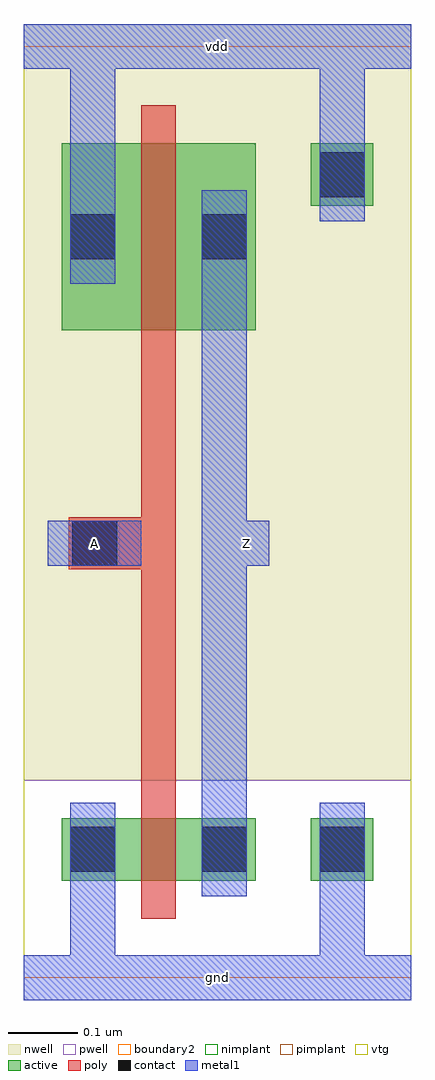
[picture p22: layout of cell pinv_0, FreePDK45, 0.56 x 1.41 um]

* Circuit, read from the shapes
.subckt pinv_0 A Z gnd vdd
M1 Z A gnd gnd nfet w=0.09u l=0.05u
M2 Z A vdd vdd pfet w=0.27u l=0.05u
.ends

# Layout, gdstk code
import gdstk
lib = gdstk.Library(unit=1e-6, precision=5e-10)
def R(c, l, rs):  # rectangles x0, y0, x1, y1
    for r in rs: c.add(gdstk.rectangle(r[:2], r[2:], *l))
active = (1, 0)
pwell = (2, 0)
nwell = (3, 0)
nimplant = (4, 0)
pimplant = (5, 0)
vtg = (6, 0)
poly = (9, 0)
contact = (10, 0)
metal1 = (11, 0)
boundary2 = (239, 0)

contact_9 = lib.new_cell('contact_9')
R(contact_9, active, [(0,0.0225,0.09,0.1125)])
R(contact_9, nwell, [(-0.055,-0.0325,0.145,0.1675)])
R(contact_9, pimplant, [(0,0.0225,0.09,0.1125)])
R(contact_9, contact, [(0.0125,0.035,0.0775,0.1)])
R(contact_9, metal1, [(0.0125,0,0.0775,0.135)])

pmos_m1_w0_270_a_p = lib.new_cell('pmos_m1_w0_270_a_p')
R(pmos_m1_w0_270_a_p, active, [(0,0,0.28,0.27)])
R(pmos_m1_w0_270_a_p, nwell, [(-0.055,-0.055,0.335,0.325)])
R(pmos_m1_w0_270_a_p, pimplant, [(0,0,0.28,0.27)])
R(pmos_m1_w0_270_a_p, vtg, [(-0.055,-0.055,0.335,0.325)])
R(pmos_m1_w0_270_a_p, poly, [(0.115,-0.055,0.165,0.325), (0.115,-0.055,0.165,0.325)])
R(pmos_m1_w0_270_a_p, metal1, [(0.0125,0.0675,0.0775,0.2025), (0.2025,0.0675,0.2675,0.2025)])
pmos_m1_w0_270_a_p.add(gdstk.Reference(contact_9, (0,0.0675)))
pmos_m1_w0_270_a_p.add(gdstk.Reference(contact_9, (0.19,0.0675)))
pmos_m1_w0_270_a_p.add(gdstk.Label('G', (0.14,0.135), layer=9, texttype=0))
pmos_m1_w0_270_a_p.add(gdstk.Label('S', (0.045,0.135), layer=11, texttype=0))
pmos_m1_w0_270_a_p.add(gdstk.Label('D', (0.235,0.135), layer=11, texttype=0))

contact_14 = lib.new_cell('contact_14')
R(contact_14, active, [(0,0.0225,0.09,0.1125)])
R(contact_14, pwell, [(-0.055,-0.0325,0.145,0.1675)])
R(contact_14, nimplant, [(0,0.0225,0.09,0.1125)])
R(contact_14, contact, [(0.0125,0.035,0.0775,0.1)])
R(contact_14, metal1, [(0.0125,0,0.0775,0.135)])

nmos_m1_w0_090_a_p = lib.new_cell('nmos_m1_w0_090_a_p')
R(nmos_m1_w0_090_a_p, active, [(0,0,0.28,0.09)])
R(nmos_m1_w0_090_a_p, pwell, [(-0.055,-0.055,0.335,0.145)])
R(nmos_m1_w0_090_a_p, nimplant, [(0,0,0.28,0.09)])
R(nmos_m1_w0_090_a_p, vtg, [(-0.055,-0.055,0.335,0.145)])
R(nmos_m1_w0_090_a_p, poly, [(0.115,-0.055,0.165,0.145), (0.115,-0.055,0.165,0.145)])
R(nmos_m1_w0_090_a_p, metal1, [(0.0125,-0.0225,0.0775,0.1125), (0.2025,-0.0225,0.2675,0.1125)])
nmos_m1_w0_090_a_p.add(gdstk.Reference(contact_14, (0,-0.0225)))
nmos_m1_w0_090_a_p.add(gdstk.Reference(contact_14, (0.19,-0.0225)))
nmos_m1_w0_090_a_p.add(gdstk.Label('G', (0.14,0.045), layer=9, texttype=0))
nmos_m1_w0_090_a_p.add(gdstk.Label('S', (0.045,0.045), layer=11, texttype=0))
nmos_m1_w0_090_a_p.add(gdstk.Label('D', (0.235,0.045), layer=11, texttype=0))

contact_18 = lib.new_cell('contact_18')
R(contact_18, active, [(0,0.0225,0.09,0.1125)])
R(contact_18, nwell, [(-0.055,-0.0325,0.145,0.1675)])
R(contact_18, nimplant, [(0,0.0225,0.09,0.1125)])
R(contact_18, contact, [(0.0125,0.035,0.0775,0.1)])
R(contact_18, metal1, [(0.0125,0,0.0775,0.135)])

contact_19 = lib.new_cell('contact_19')
R(contact_19, active, [(0,0.0225,0.09,0.1125)])
R(contact_19, pwell, [(-0.055,-0.0325,0.145,0.1675)])
R(contact_19, pimplant, [(0,0.0225,0.09,0.1125)])
R(contact_19, contact, [(0.0125,0.035,0.0775,0.1)])
R(contact_19, metal1, [(0.0125,0,0.0775,0.135)])

contact_10 = lib.new_cell('contact_10')
R(contact_10, poly, [(0.03,0,0.105,0.075)])
R(contact_10, contact, [(0.035,0.005,0.1,0.07)])
R(contact_10, metal1, [(0,0.005,0.135,0.07)])

pinv_0 = lib.new_cell('pinv_0')
R(pinv_0, pwell, [(0,-0.0325,0.56,0.285)])
R(pinv_0, nwell, [(0,0.285,0.56,1.3775)])
R(pinv_0, vtg, [(0,-0.0325,0.56,0.285), (0,0.285,0.56,1.3775)])
R(pinv_0, poly, [(0.17,0.085,0.22,0.88), (0.1025,0.59,0.17,0.665)])
R(pinv_0, metal1, [(0,-0.0325,0.56,0.0325), (0.0675,-0.0325,0.1325,0.1175), (0.4275,0,0.4925,0.185), (0.2575,0.1175,0.3225,1.1375), (0.035,0.595,0.17,0.66), (0.29,0.595,0.355,0.66), (0.0675,1.0025,0.1325,1.3775), (0.4275,1.16,0.4925,1.345), (0,1.3125,0.56,1.3775)])
R(pinv_0, boundary2, [(0,0,0.56,1.345)])
pinv_0.add(gdstk.Reference(pmos_m1_w0_270_a_p, (0.055,0.935)))
pinv_0.add(gdstk.Reference(nmos_m1_w0_090_a_p, (0.055,0.14)))
pinv_0.add(gdstk.Reference(contact_18, (0.415,1.0925)))
pinv_0.add(gdstk.Reference(contact_19, (0.415,0.1175)))
pinv_0.add(gdstk.Reference(contact_10, (0.035,0.59)))
pinv_0.add(gdstk.Label('gnd', (0.28,0), layer=11, texttype=0))
pinv_0.add(gdstk.Label('vdd', (0.28,1.345), layer=11, texttype=0))
pinv_0.add(gdstk.Label('A', (0.1025,0.6275), layer=11, texttype=0))
pinv_0.add(gdstk.Label('Z', (0.3225,0.6275), layer=11, texttype=0))

lib.write_gds('pinv_0.gds')
